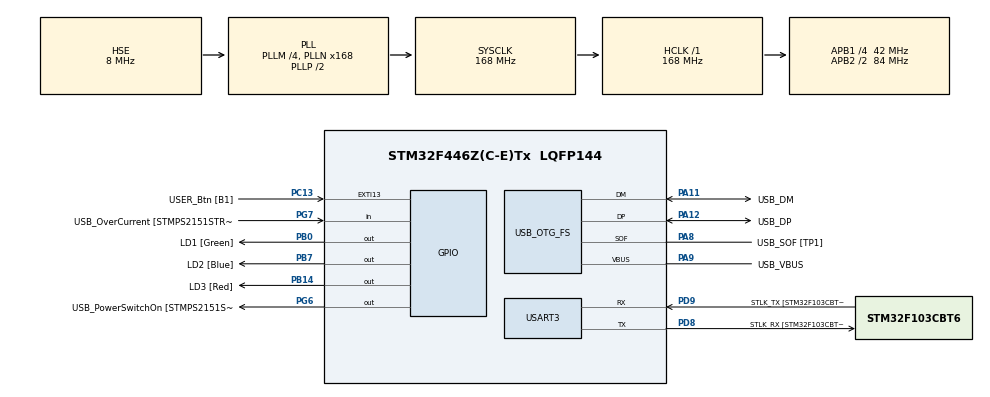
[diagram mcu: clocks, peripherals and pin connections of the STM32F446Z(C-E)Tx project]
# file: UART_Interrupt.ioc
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Mcu.Family=STM32F4
Mcu.Name=STM32F446Z(C-E)Tx
Mcu.Package=LQFP144
NVIC.PriorityGroup=NVIC_PRIORITYGROUP_4
NVIC.USART3_IRQn=true\:0\:0\:false\:false\:true\:true\:true\:true
PA10.GPIO_Label=USB_ID
PA10.Signal=USB_OTG_FS_ID
PA11.GPIO_Label=USB_DM
PA11.Mode=Device_Only
PA11.Signal=USB_OTG_FS_DM
PA12.GPIO_Label=USB_DP
PA12.Mode=Device_Only
PA12.Signal=USB_OTG_FS_DP
PA13.GPIO_Label=TMS
PA13.Mode=Serial_Wire
PA13.Signal=SYS_JTMS-SWDIO
PA14.GPIO_Label=TCK
PA14.Mode=Serial_Wire
PA14.Signal=SYS_JTCK-SWCLK
PA8.GPIO_Label=USB_SOF [TP1]
PA8.Mode=Activate_SOF_FS
PA8.Signal=USB_OTG_FS_SOF
PA9.GPIO_Label=USB_VBUS
PA9.Mode=Activate_VBUS
PA9.Signal=USB_OTG_FS_VBUS
PB0.GPIO_Label=LD1 [Green]
PB0.Signal=GPIO_Output
PB14.GPIO_Label=LD3 [Red]
PB14.Signal=GPIO_Output
PB7.GPIO_Label=LD2 [Blue]
PB7.Signal=GPIO_Output
PC13.GPIO_Label=USER_Btn [B1]
PC13.Signal=GPXTI13
PC14-OSC32_IN.Signal=RCC_OSC32_IN
PC15-OSC32_OUT.Signal=RCC_OSC32_OUT
PD8.GPIO_Label=STLK_RX [STM32F103CBT6_PA3]
PD8.Mode=Asynchronous
PD8.Signal=USART3_TX
PD9.GPIO_Label=STLK_TX [STM32F103CBT6_PA2]
PD9.Mode=Asynchronous
PD9.Signal=USART3_RX
PG6.GPIO_Label=USB_PowerSwitchOn [STMPS2151STR_EN]
PG6.Signal=GPIO_Output
PG7.GPIO_Label=USB_OverCurrent [STMPS2151STR_FAULT]
PG7.Signal=GPIO_Input
PH0-OSC_IN.GPIO_Label=MCO [STM32F103CBT6_PA8]
PH0-OSC_IN.Mode=HSE-External-Oscillator
PH0-OSC_IN.Signal=RCC_OSC_IN
PH1-OSC_OUT.Mode=HSE-External-Oscillator
PH1-OSC_OUT.Signal=RCC_OSC_OUT
ProjectManager.HeapSize=0x200
ProjectManager.StackSize=0x400
ProjectManager.TargetToolchain=STM32CubeIDE
RCC.48MHZClocksFreq_Value=24000000
RCC.AHBFreq_Value=168000000
RCC.APB1CLKDivider=RCC_HCLK_DIV4
RCC.APB1Freq_Value=42000000
RCC.APB1TimFreq_Value=84000000
RCC.APB2CLKDivider=RCC_HCLK_DIV2
RCC.APB2Freq_Value=84000000
RCC.APB2TimFreq_Value=168000000
RCC.CortexFreq_Value=168000000
RCC.HCLKFreq_Value=168000000
RCC.HSE_VALUE=8000000
RCC.HSI_VALUE=16000000
RCC.PLLM=4
RCC.PLLMUL=RCC_PLL_MUL9
RCC.PLLN=168
RCC.PLLQ=7
RCC.PRESCALERUSB=RCC_USBCLKSOURCE_PLL_DIV1_5
RCC.SYSCLKFreq_VALUE=168000000
RCC.SYSCLKSource=RCC_SYSCLKSOURCE_PLLCLK
RCC.SYSCLKSourceVirtual=RCC_SYSCLKSOURCE_PLLCLK
RCC.USBFreq_Value=48000000
RCC.VCOOutputFreq_Value=336000000
USART3.VirtualMode=VM_ASYNC
USB_OTG_FS.VirtualMode=Device_Only
board=NUCLEO-F446ZE

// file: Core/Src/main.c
/* USER CODE BEGIN Header */
/**
  ******************************************************************************
  * @file           : main.c
  * @brief          : Main program body
  ******************************************************************************
  * @attention
  *
  * Copyright (c) 2025 STMicroelectronics.
  * All rights reserved.
  *
  * This software is licensed under terms that can be found in the LICENSE file
  * in the root directory of this software component.
  * If no LICENSE file comes with this software, it is provided AS-IS.
  *
  ******************************************************************************
  */
/* USER CODE END Header */
#include "main.h"

/* USER CODE BEGIN Includes */
#include<string.h>
/* USER CODE END Includes */

UART_HandleTypeDef huart3;

PCD_HandleTypeDef hpcd_USB_OTG_FS;

/* USER CODE BEGIN PV */
char* txdata="Hey There\n";
char rxdata[20];
uint16_t txcnt=0;
uint16_t rxcnt=0;
uint16_t rxlen;
/* USER CODE END PV */

void SystemClock_Config(void);
static void MX_GPIO_Init(void);
static void MX_USART3_UART_Init(void);
static void MX_USB_OTG_FS_PCD_Init(void);
/* USER CODE BEGIN PFP */
void HAL_UART_TxCpltCallback(UART_HandleTypeDef *huart)
{
	if(huart->Instance == USART3)
	{
		txcnt++;
	}
}

void HAL_UARTEx_RxEventCallback(UART_HandleTypeDef *huart, uint16_t Size)
{
	if(huart->Instance == USART3)
		{
			rxcnt++;
			rxlen=Size;
			 HAL_UARTEx_ReceiveToIdle_IT(&huart3, (uint8_t*)rxdata, 20);

		}
}
/* USER CODE END PFP */

int main(void)
{

  /* MCU Configuration--------------------------------------------------------*/

  /* Reset of all peripherals, Initializes the Flash interface and the Systick. */
  HAL_Init();

  /* Configure the system clock */
  SystemClock_Config();

  /* Initialize all configured peripherals */
  MX_GPIO_Init();
  MX_USART3_UART_Init();
  MX_USB_OTG_FS_PCD_Init();
  /* USER CODE BEGIN 2 */
  HAL_UARTEx_ReceiveToIdle_IT(&huart3, (uint8_t*)rxdata, 20);

  /* USER CODE END 2 */

  /* Infinite loop */
  while (1)
  {
	  HAL_UART_Transmit_IT(&huart3, (uint8_t*)txdata, strlen(txdata));

  }
}

void SystemClock_Config(void)
{
  RCC_OscInitTypeDef RCC_OscInitStruct = {0};
  RCC_ClkInitTypeDef RCC_ClkInitStruct = {0};

  /** Configure the main internal regulator output voltage
  */
  __HAL_RCC_PWR_CLK_ENABLE();
  __HAL_PWR_VOLTAGESCALING_CONFIG(PWR_REGULATOR_VOLTAGE_SCALE1);

  /** Initializes the RCC Oscillators according to the specified parameters
  * in the RCC_OscInitTypeDef structure.
  */
  RCC_OscInitStruct.OscillatorType = RCC_OSCILLATORTYPE_HSE;
  RCC_OscInitStruct.HSEState = RCC_HSE_ON;
  RCC_OscInitStruct.PLL.PLLState = RCC_PLL_ON;
  RCC_OscInitStruct.PLL.PLLSource = RCC_PLLSOURCE_HSE;
  RCC_OscInitStruct.PLL.PLLM = 4;
  RCC_OscInitStruct.PLL.PLLN = 168;
  RCC_OscInitStruct.PLL.PLLP = RCC_PLLP_DIV2;
  RCC_OscInitStruct.PLL.PLLQ = 7;
  RCC_OscInitStruct.PLL.PLLR = 2;
  if (HAL_RCC_OscConfig(&RCC_OscInitStruct) != HAL_OK)
  {
    Error_Handler();
  }

  /** Initializes the CPU, AHB and APB buses clocks
  */
  RCC_ClkInitStruct.ClockType = RCC_CLOCKTYPE_HCLK|RCC_CLOCKTYPE_SYSCLK
                              |RCC_CLOCKTYPE_PCLK1|RCC_CLOCKTYPE_PCLK2;
  RCC_ClkInitStruct.SYSCLKSource = RCC_SYSCLKSOURCE_PLLCLK;
  RCC_ClkInitStruct.AHBCLKDivider = RCC_SYSCLK_DIV1;
  RCC_ClkInitStruct.APB1CLKDivider = RCC_HCLK_DIV4;
  RCC_ClkInitStruct.APB2CLKDivider = RCC_HCLK_DIV2;

  if (HAL_RCC_ClockConfig(&RCC_ClkInitStruct, FLASH_LATENCY_5) != HAL_OK)
  {
    Error_Handler();
  }
}

static void MX_USART3_UART_Init(void)
{

  huart3.Instance = USART3;
  huart3.Init.BaudRate = 115200;
  huart3.Init.WordLength = UART_WORDLENGTH_8B;
  huart3.Init.StopBits = UART_STOPBITS_1;
  huart3.Init.Parity = UART_PARITY_NONE;
  huart3.Init.Mode = UART_MODE_TX_RX;
  huart3.Init.HwFlowCtl = UART_HWCONTROL_NONE;
  huart3.Init.OverSampling = UART_OVERSAMPLING_16;
  if (HAL_UART_Init(&huart3) != HAL_OK)
  {
    Error_Handler();
  }

}

static void MX_USB_OTG_FS_PCD_Init(void)
{

  hpcd_USB_OTG_FS.Instance = USB_OTG_FS;
  hpcd_USB_OTG_FS.Init.dev_endpoints = 6;
  hpcd_USB_OTG_FS.Init.speed = PCD_SPEED_FULL;
  hpcd_USB_OTG_FS.Init.dma_enable = DISABLE;
  hpcd_USB_OTG_FS.Init.phy_itface = PCD_PHY_EMBEDDED;
  hpcd_USB_OTG_FS.Init.Sof_enable = ENABLE;
  hpcd_USB_OTG_FS.Init.low_power_enable = DISABLE;
  hpcd_USB_OTG_FS.Init.lpm_enable = DISABLE;
  hpcd_USB_OTG_FS.Init.vbus_sensing_enable = ENABLE;
  hpcd_USB_OTG_FS.Init.use_dedicated_ep1 = DISABLE;
  if (HAL_PCD_Init(&hpcd_USB_OTG_FS) != HAL_OK)
  {
    Error_Handler();
  }

}

static void MX_GPIO_Init(void)
{
  GPIO_InitTypeDef GPIO_InitStruct = {0};

  /* GPIO Ports Clock Enable */
  __HAL_RCC_GPIOC_CLK_ENABLE();
  __HAL_RCC_GPIOH_CLK_ENABLE();
  __HAL_RCC_GPIOB_CLK_ENABLE();
  __HAL_RCC_GPIOD_CLK_ENABLE();
  __HAL_RCC_GPIOG_CLK_ENABLE();
  __HAL_RCC_GPIOA_CLK_ENABLE();

  /*Configure GPIO pin Output Level */
  HAL_GPIO_WritePin(GPIOB, LD1_Pin|LD3_Pin|LD2_Pin, GPIO_PIN_RESET);

  /*Configure GPIO pin Output Level */
  HAL_GPIO_WritePin(USB_PowerSwitchOn_GPIO_Port, USB_PowerSwitchOn_Pin, GPIO_PIN_RESET);

  /*Configure GPIO pin : USER_Btn_Pin */
  GPIO_InitStruct.Pin = USER_Btn_Pin;
  GPIO_InitStruct.Mode = GPIO_MODE_IT_RISING;
  GPIO_InitStruct.Pull = GPIO_NOPULL;
  HAL_GPIO_Init(USER_Btn_GPIO_Port, &GPIO_InitStruct);

  /*Configure GPIO pins : LD1_Pin LD3_Pin LD2_Pin */
  GPIO_InitStruct.Pin = LD1_Pin|LD3_Pin|LD2_Pin;
  GPIO_InitStruct.Mode = GPIO_MODE_OUTPUT_PP;
  GPIO_InitStruct.Pull = GPIO_NOPULL;
  GPIO_InitStruct.Speed = GPIO_SPEED_FREQ_LOW;
  HAL_GPIO_Init(GPIOB, &GPIO_InitStruct);

  /*Configure GPIO pin : USB_PowerSwitchOn_Pin */
  GPIO_InitStruct.Pin = USB_PowerSwitchOn_Pin;
  GPIO_InitStruct.Mode = GPIO_MODE_OUTPUT_PP;
  GPIO_InitStruct.Pull = GPIO_NOPULL;
  GPIO_InitStruct.Speed = GPIO_SPEED_FREQ_LOW;
  HAL_GPIO_Init(USB_PowerSwitchOn_GPIO_Port, &GPIO_InitStruct);

  /*Configure GPIO pin : USB_OverCurrent_Pin */
  GPIO_InitStruct.Pin = USB_OverCurrent_Pin;
  GPIO_InitStruct.Mode = GPIO_MODE_INPUT;
  GPIO_InitStruct.Pull = GPIO_NOPULL;
  HAL_GPIO_Init(USB_OverCurrent_GPIO_Port, &GPIO_InitStruct);

}

void Error_Handler(void)
{
  __disable_irq();
  while (1)
  {
  }
}
